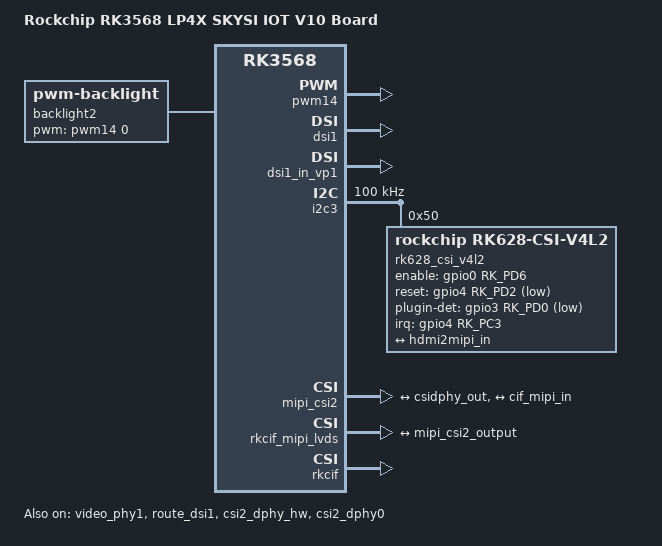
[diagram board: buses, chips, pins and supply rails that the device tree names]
// SPDX-License-Identifier: (GPL-2.0+ OR MIT)
/*
 * Copyright (c) 2020 Rockchip Electronics Co., Ltd.
 *
 */

#include "rk3568-evb-lp4x-s1-v10.dtsi"
#include "rk3568-android.dtsi"
/{
	model = "Rockchip RK3568 LP4X SKYSI IOT V10 Board";
	compatible = "rockchip,rk3568-iot-lp4x-s1-v10-mipi", "rockchip,rk3568";

	backlight2: backlight2 {
		compatible = "pwm-backlight";
		pwms = <&pwm14 0 25000 0>;
		brightness-levels = <
			  0   1   2   3   4   5   6   7
			  8   9  10  11  12  13  14  15
			 16  17  18  19  20  21  22  23
			 24  25  26  27  28  29  30  31
			 32  33  34  35  36  37  38  39
			 40  41  42  43  44  45  46  47
			 48  49  50  51  52  53  54  55
			 56  57  58  59  60  61  62  63
			 64  65  66  67  68  69  70  71
			 72  73  74  75  76  77  78  79
			 80  81  82  83  84  85  86  87
			 88  89  90  91  92  93  94  95
			 96  97  98  99 100 101 102 103
			104 105 106 107 108 109 110 111
			112 113 114 115 116 117 118 119
			120 121 122 123 124 125 126 127
			128 129 130 131 132 133 134 135
			136 137 138 139 140 141 142 143
			144 145 146 147 148 149 150 151
			152 153 154 155 156 157 158 159
			160 161 162 163 164 165 166 167
			168 169 170 171 172 173 174 175
			176 177 178 179 180 181 182 183
			184 185 186 187 188 189 190 191
			192 193 194 195 196 197 198 199
			200 201 202 203 204 205 206 207
			208 209 210 211 212 213 214 215
			216 217 218 219 220 221 222 223
			224 225 226 227 228 229 230 231
			232 233 234 235 236 237 238 239
			240 241 242 243 244 245 246 247
			248 249 250 251 252 253 254 255
		>;
		default-brightness-level = <200>;
	};
};

&pwm14 {
	status = "okay";
	pinctrl-0 = <&pwm14m1_pins>;
};

&video_phy0 {
	status = "disabled";
};

&video_phy1 {
	status = "okay";
};

/*
 * video_phy1 needs to be enabled
 * when dsi1 is enabled
 */
&dsi1 {
	status = "okay";
};

&dsi1_in_vp0 {
	status = "disabled";
};

&dsi1_in_vp1 {
	status = "okay";
};

&dsi1_panel {
	backlight = <&backlight2>;
	power-supply = <&vcc3v3_lcd1_n>;
	enable-gpios = <&gpio2 RK_PD4 GPIO_ACTIVE_HIGH>;
	reset-gpios = <&gpio3 RK_PC7 GPIO_ACTIVE_LOW>;
	enable-delay-ms = <10>;
	prepare-delay-ms = <20>;
	reset-delay-ms = <10>;
	reset1-delay-ms = <10>;
	init-delay-ms = <10>;
	unprepare-delay-ms = <50>;
	disable-delay-ms = <20>;

	panel-init-sequence = [
		39 01 03 E0 AB BA
		39 01 03 E1 BA AB
		39 01 05 B1 10 01 47 FF
		39 01 07 B2 0C 10 04 50 50 14

		39 01 04 B3 56 D3 00
		39 01 04 B4 33 30 04
		39 01 08 B6 B0 00 00 10 00 10 00
		39 01 06 B8 36 12 29 49 48

		39 01 27 B9 7F 67 55 49 44 34 38 23 3E 3F 3F 5D 4B 52 44 41 36 24 06 7F 67 55 49 44 34 38 23 3E 3F 3F 5D 4B 52 44 41 36 24 06

		39 01 11 C0 32 45 B4 45 66 44 44 44 90 04 86 04 3F 00 00 C1
		39 01 0B C1 34 94 02 8F 90 04 86 04 54 00
		39 01 0D C2 33 09 08 89 08 11 22 20 44 BB 18 00
		39 01 17 C3 80 40 08 07 06 13 12 11 10 0F 0E 0D 0C 04 05 02 02 02 02 02 02 00
		39 01 17 C4 00 00 08 07 06 13 12 11 10 0F 0E 0D 0C 04 05 02 02 02 02 02 02 02

		39 01 03 C6 25 25
		39 01 07 C8 21 00 31 42 34 16
		39 01 03 CA CB 43
		39 01 09 CD 0E 6E 6E 20 19 6B 06 b3
		39 01 05 D2 E3 2B 38 00
		39 01 0C D4 00 01 00 0E 04 44 08 10 00 00 00
		39 01 09 E6 80 01 FF FF FF FF FF FF
		39 01 06 F0 12 03 20 00 FF
		15 01 02 F3 00
		05 01 01 11
		05 01 01 29
	];

	panel-exit-sequence = [
		05 01 01 28
		05 01 01 10
	];

	disp_timings1: display-timings {
		native-mode = <&dsi1_timing0>;

		dsi1_timing0: timing0 {
			clock-frequency = <76800000>;
			hactive = <800>;
			vactive = <1280>;
			hfront-porch = <80>;
			hsync-len = <20>;
			hback-porch = <80>;
			vfront-porch = <20>;
			vsync-len = <4>;
			vback-porch = <12>;
			hsync-active = <0>;
			vsync-active = <0>;
			de-active = <0>;
			pixelclk-active = <0>;
		};
	};
};

&route_dsi1 {
	status = "okay";
	connect = <&vp1_out_dsi1>;
};



&i2c3 {
	clock-frequency = <100000>;
	status = "okay";

    rk628_csi_v4l2: rk628_csi_v4l2@50 {
		/* csi->csi:rk628-csi-v4l2 dsi->csi:rk628-dsi-v4l2 */
		compatible = "rockchip,rk628-csi-v4l2";
		reg = <0x50>;
		//clocks = <&ext_cam_clk>;
		//clock-names = "xvclk";
		interrupt-parent = <&gpio4>;
		interrupts = <RK_PC3 IRQ_TYPE_LEVEL_LOW>;   
		pinctrl-names = "default";
		pinctrl-0 = <&rk628_irq &rk628_det>;
		//hdcp-enable = <1>;
		//power-gpios = <&gpio0 RK_PD5 GPIO_ACTIVE_HIGH>;
		enable-gpios = <&gpio0 RK_PD6 GPIO_ACTIVE_HIGH>;
		reset-gpios = <&gpio4 RK_PD2 GPIO_ACTIVE_LOW>;
		plugin-det-gpios = <&gpio3 RK_PD0 GPIO_ACTIVE_LOW>;
		rockchip,camera-module-index = <0>;
		rockchip,camera-module-facing = "back";
		rockchip,camera-module-name = "RK628-CSI";
		rockchip,camera-module-lens-name = "NC";
		port {
			rk628_out: endpoint {
				remote-endpoint = <&hdmi2mipi_in>;
				data-lanes = <1 2 3 4>;
			};
		};
	};		
};	


&mipi_csi2 {
	status = "okay";

	ports {
		#address-cells = <1>;
		#size-cells = <0>;

		port@0 {
			reg = <0>;
			#address-cells = <1>;
			#size-cells = <0>;

			mipi_csi2_input: endpoint@1 {
				reg = <1>;
				remote-endpoint = <&csidphy_out>;
				data-lanes = <1 2 3 4>;
			};
		};

		port@1 {
			reg = <1>;
			#address-cells = <1>;
			#size-cells = <0>;

			mipi_csi2_output: endpoint@0 {
				reg = <0>;
				remote-endpoint = <&cif_mipi_in>;
				data-lanes = <1 2 3 4>;
			};
		};
	};
};

&rkcif_mipi_lvds {
	status = "okay";

	port {
		cif_mipi_in: endpoint {
			remote-endpoint = <&mipi_csi2_output>;
			data-lanes = <1 2 3 4>;
		};
	};
};



&rkcif_mmu {
	status = "okay";
};

&rkcif_dvp_sditf {
	status = "disabled";
};

&rkcif {
	status = "okay";
};

&csi2_dphy_hw {
	status = "okay";
};

&csi2_dphy0 {
	status = "okay";

	ports {
		#address-cells = <1>;
		#size-cells = <0>;
		port@0 {
			reg = <0>;
			#address-cells = <1>;
			#size-cells = <0>;

			hdmi2mipi_in: endpoint@0 {
				reg = <1>;
				remote-endpoint = <&rk628_out>;
				data-lanes = <1 2 3 4>;
			};
		};

		port@1 {
			reg = <1>;
			#address-cells = <1>;
			#size-cells = <0>;

			csidphy_out: endpoint@0 {
				reg = <0>;
				remote-endpoint = <&mipi_csi2_input>;
			};
		};
	};
};

&rkisp {
	status = "disabled";
};

&rkisp_mmu {
	status = "disabled";
};

&rkisp_vir0 {
	status = "disabled";

	port {
		#address-cells = <1>;
		#size-cells = <0>;

		isp0_in: endpoint@0 {
			reg = <0>;
			remote-endpoint = <&csidphy_out>;
		};
	};
};


&pinctrl {
	rk628-csi {
		rk628_irq: rk628-irq {
			rockchip,pins = <4 RK_PC3 RK_FUNC_GPIO &pcfg_pull_up>;
		};
		rk628_det: rk628-det {
			rockchip,pins = <3 RK_PD0 RK_FUNC_GPIO &pcfg_pull_up>;
		};
	};
};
